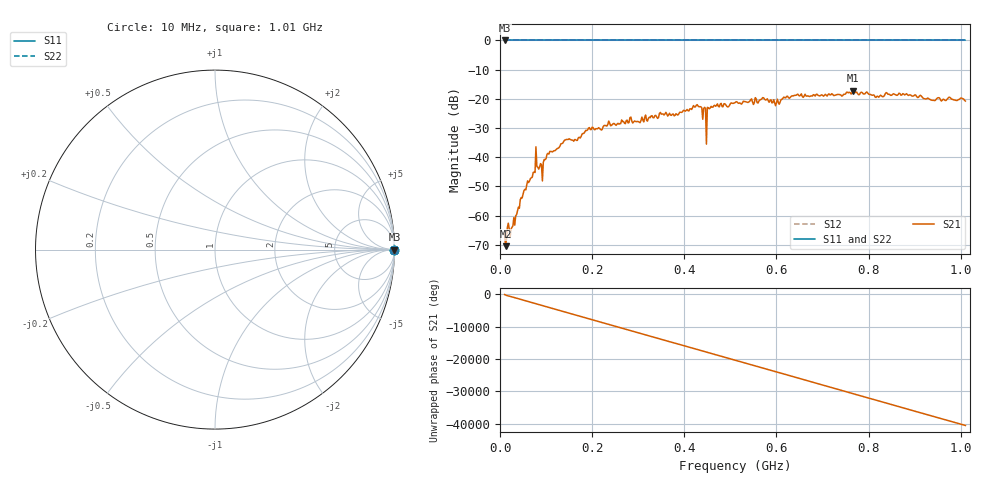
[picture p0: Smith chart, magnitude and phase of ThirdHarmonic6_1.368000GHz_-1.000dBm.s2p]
! 8/16/2025 3:29:13 PM
! C:\ANRITSUVNA\TEMP\TEMP.S2P
! CHANNEL.1
! TR.MEASUREMENT
! RAW.DATA
! RF.CORRECTION.OFF
! AVERAGING.OFF
! IF.BANDWIDTH: 5KHZ
! SWEEPTYPE:  FREQ.SWEEP(Linear)
! Reference Plane Port Info
! PORT:  PORT1  PORT2
! DISTANCE:  0  m  0  m
! TIME:  0  s  0  s
! PHASE.OFFSET:  0  deg.  0  deg.
! LOSS:  0  dB  0  dB
! REF.LOSS:  0  dB  0  dB
! REF.FREQ:  0  Hz  0  Hz
! Power Info
! POWER:  -20  dBm  -20  dBm
! EFF.POWER:  -20  dBm  -20  dBm
! SOURCE.ATTEN:  0  dB  0  dB
! TEST.ATTEN:  0  dB  0  dB
# GHZ S RI R 50.0
! FREQ.GHZ  S11RE  S11IM  S21RE  S21IM  S12RE  S12IM  S22RE  S22IM
!; PortSelection: Port_12
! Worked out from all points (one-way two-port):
!   501 points, 10 MHz to 1.01 GHz, reference 50 ohm
!   highest |S21| = -17.21 dB at 766 MHz (marker M1); lowest = -70.5 dB at 12 MHz (marker M2)
!   lowest |S11| = 0.0 dB at 10 MHz (marker M3)
!   |S11| at or under -10 dB: nowhere
!   |S22| runs from 0.0 to 0.0 dB; largest |S21 - S12| = 1.1
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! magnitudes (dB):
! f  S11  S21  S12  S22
! 10 MHz  0.0  -66.4  0.0  0.0
! 12 MHz  0.0  -70.5  0.0  0.0
! 26 MHz  0.0  -64.1  0.0  0.0
! 48 MHz  0.0  -54.0  0.0  0.0
! 76 MHz  0.0  -45.3  0.0  0.0
! 82 MHz  0.0  -43.4  0.0  0.0
! 88 MHz  0.0  -42.2  0.0  0.0
! 106 MHz  0.0  -39.0  0.0  0.0
! 178 MHz  0.0  -32.1  0.0  0.0
! 196 MHz  0.0  -30.5  0.0  0.0
! 344 MHz  0.0  -26.5  0.0  0.0
! 430 MHz  0.0  -22.5  0.0  0.0
! 442 MHz  0.0  -23.3  0.0  0.0
! 444 MHz  0.0  -22.9  0.0  0.0
! 452 MHz  0.0  -23.1  0.0  0.0
! 454 MHz  0.0  -23.4  0.0  0.0
! 510 MHz  0.0  -21.3  0.0  0.0
! 602 MHz  0.0  -20.1  0.0  0.0
! 678 MHz  0.0  -19.1  0.0  0.0
! 766 MHz  0.0  -17.2  0.0  0.0
! 844 MHz  0.0  -18.4  0.0  0.0
! 1.01 GHz  0.0  -20.8  0.0  0.0
